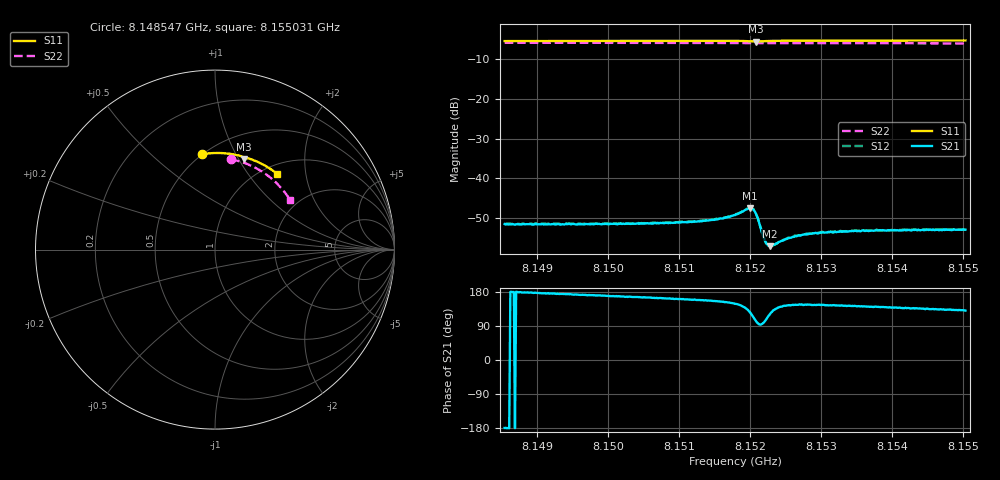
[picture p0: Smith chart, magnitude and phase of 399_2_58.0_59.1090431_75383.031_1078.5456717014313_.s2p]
#  HZ  S  RI  R  50.00
! Rohde & Schwarz Vector Network Analyzer
! Rohde-Schwarz,ZNB20-2Port,1311601062101988,3.16
! Created: UTC 3/21/2024, 1:08:10 AM
! freq[Hz]  re:S11  im:S11  re:S21  im:S21  re:S12  im:S12  re:S22  im:S22
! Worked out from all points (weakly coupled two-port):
!   401 points, 8.148547 GHz to 8.155031 GHz, reference 50 ohm
!   highest |S21| = -47.56 dB at 8.152 GHz (marker M1); lowest = -57.1 dB at 8.152275 GHz (marker M2)
!   lowest |S11| = -5.5 dB at 8.152081 GHz (marker M3), VSWR 3.24, Z = 37.8 + j52.8 ohm
!   |S11| at or under -10 dB: nowhere
!   |S22| runs from -6.0 to -5.8 dB; largest |S21 - S12| = 0.00011
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8.1485474e9  -0.0748 0.5308  -0.00264 -3.24e-05  -0.00265 -2.65e-06  0.0889 0.5039
8.1496333e9  0.000673 0.538  -0.0026 0.00036  -0.00263 0.000401  0.1567 0.4855
8.1507193e9  0.0762 0.5345  -0.00258 0.000764  -0.00262 0.000821  0.2209 0.4582
8.1513514e9  0.1203 0.527  -0.00269 0.00112  -0.00267 0.00117  0.2562 0.4383
8.1515945e9  0.1377 0.5228  -0.00279 0.00136  -0.00277 0.0014  0.2694 0.4301
8.151789e9  0.1519 0.5181  -0.00291 0.0018  -0.00293 0.00188  0.2795 0.4228
8.1519673e9  0.1641 0.5091  -0.00278 0.00302  -0.00274 0.00308  0.2888 0.4161
8.1519997e9  0.1652 0.5065  -0.00245 0.00339  -0.00244 0.00345  0.2902 0.4149
8.1520483e9  0.1646 0.5032  -0.00157 0.00371  -0.00154 0.00376  0.2926 0.413
8.1520808e9  0.1633 0.5029  -0.000853 0.00352  -0.000765 0.00355  0.294 0.4116
8.1521132e9  0.1624 0.504  -0.000348 0.00303  -0.00029 0.00307  0.2958 0.4106
8.1521942e9  0.1663 0.5086  -0.00027 0.00175  -0.000246 0.00174  0.2999 0.4079
8.1522104e9  0.1675 0.5091  -0.000362 0.00159  -0.00035 0.00159  0.3007 0.4071
8.1522428e9  0.1704 0.5097  -0.000542 0.00137  -0.000534 0.00138  0.3022 0.4059
8.1522753e9  0.1731 0.5099  -0.000685 0.00121  -0.000673 0.00123  0.304 0.4046
8.1523401e9  0.1786 0.5095  -0.000985 0.00107  -0.000942 0.00109  0.3073 0.4022
8.1524536e9  0.1874 0.5077  -0.00126 0.00103  -0.00128 0.00103  0.3128 0.3976
8.1525994e9  0.198 0.5045  -0.00151 0.00103  -0.00149 0.00107  0.3199 0.3916
8.152875e9  0.2168 0.4977  -0.00164 0.00115  -0.00167 0.00114  0.333 0.38
8.1532316e9  0.2396 0.4878  -0.0017 0.00125  -0.00174 0.00128  0.3492 0.3645
8.1539609e9  0.2847 0.4644  -0.00167 0.00143  -0.00164 0.00147  0.38 0.3304
8.1550307e9  0.3456 0.4228  -0.00146 0.00171  -0.00147 0.00172  0.4188 0.276
